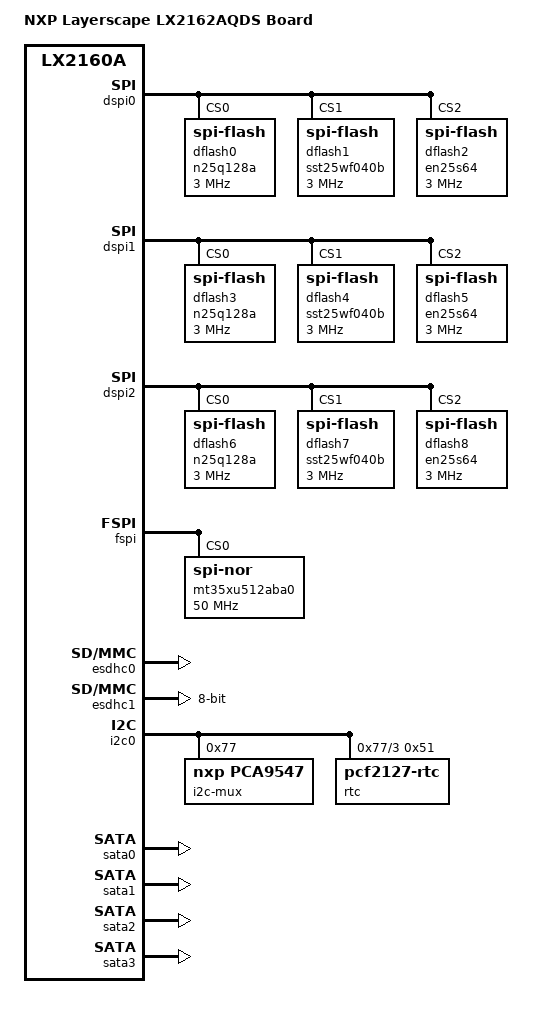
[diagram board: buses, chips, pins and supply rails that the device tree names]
// SPDX-License-Identifier: GPL-2.0+ OR X11
/*
 * NXP LX2162AQDS device tree source
 *
 * Copyright 2020 NXP
 *
 */

/dts-v1/;

#include "fsl-lx2160a.dtsi"

/ {
	model = "NXP Layerscape LX2162AQDS Board";
	compatible = "fsl,lx2162aqds", "fsl,lx2160a";

	aliases {
		spi0 = &fspi;
		spi1 = &dspi0;
		spi2 = &dspi1;
		spi3 = &dspi2;
	};
};

&dspi0 {
	bus-num = <0>;
	status = "okay";

	dflash0: n25q128a {
		#address-cells = <1>;
		#size-cells = <1>;
		compatible = "spi-flash";
		spi-max-frequency = <3000000>;
		spi-cpol;
		spi-cpha;
		reg = <0>;
	};
	dflash1: sst25wf040b {
		#address-cells = <1>;
		#size-cells = <1>;
		compatible = "spi-flash";
		spi-max-frequency = <3000000>;
		spi-cpol;
		spi-cpha;
		reg = <1>;
	};
	dflash2: en25s64 {
		#address-cells = <1>;
		#size-cells = <1>;
		compatible = "spi-flash";
		spi-max-frequency = <3000000>;
		spi-cpol;
		spi-cpha;
		reg = <2>;
	};
};

&dspi1 {
	bus-num = <0>;
	status = "okay";

	dflash3: n25q128a {
		#address-cells = <1>;
		#size-cells = <1>;
		compatible = "spi-flash";
		spi-max-frequency = <3000000>;
		spi-cpol;
		spi-cpha;
		reg = <0>;
	};
	dflash4: sst25wf040b {
		#address-cells = <1>;
		#size-cells = <1>;
		compatible = "spi-flash";
		spi-max-frequency = <3000000>;
		spi-cpol;
		spi-cpha;
		reg = <1>;
	};
	dflash5: en25s64 {
		#address-cells = <1>;
		#size-cells = <1>;
		compatible = "spi-flash";
		spi-max-frequency = <3000000>;
		spi-cpol;
		spi-cpha;
		reg = <2>;
	};
};

&dspi2 {
	bus-num = <0>;
	status = "okay";

	dflash6: n25q128a {
		#address-cells = <1>;
		#size-cells = <1>;
		compatible = "spi-flash";
		spi-max-frequency = <3000000>;
		spi-cpol;
		spi-cpha;
		reg = <0>;
	};
	dflash7: sst25wf040b {
		#address-cells = <1>;
		#size-cells = <1>;
		compatible = "spi-flash";
		spi-max-frequency = <3000000>;
		spi-cpol;
		spi-cpha;
		reg = <1>;
	};
	dflash8: en25s64 {
		#address-cells = <1>;
		#size-cells = <1>;
		compatible = "spi-flash";
		spi-max-frequency = <3000000>;
		spi-cpol;
		spi-cpha;
		reg = <2>;
	};
};

&fspi {
	status = "okay";

	mt35xu512aba0: flash@0 {
		#address-cells = <1>;
		#size-cells = <1>;
		compatible = "jedec,spi-nor";
		spi-max-frequency = <50000000>;
		reg = <0>;
		spi-rx-bus-width = <8>;
		spi-tx-bus-width = <1>;
	};
};

&usb1 {
	status = "disabled";
};

&esdhc0 {
	status = "okay";
};

&esdhc1 {
	status = "okay";
	mmc-hs200-1_8v;
	mmc-hs400-1_8v;
	bus-width = <8>;
};

&i2c0 {
	status = "okay";
	u-boot,dm-pre-reloc;

	i2c-mux@77 {
		compatible = "nxp,pca9547";
		reg = <0x77>;
		#address-cells = <1>;
		#size-cells = <0>;

		i2c@3 {
			#address-cells = <1>;
			#size-cells = <0>;
			reg = <0x3>;

			rtc@51 {
				compatible = "pcf2127-rtc";
				reg = <0x51>;
			};
		};
	};
};

&sata0 {
	status = "okay";
};

&sata1 {
	status = "okay";
};

&sata2 {
	status = "okay";
};

&sata3 {
	status = "okay";
};

&pcie2 {
	status = "disabled";
};

&pcie5 {
	status = "disabled";
};

&pcie6 {
	status = "disabled";
};
